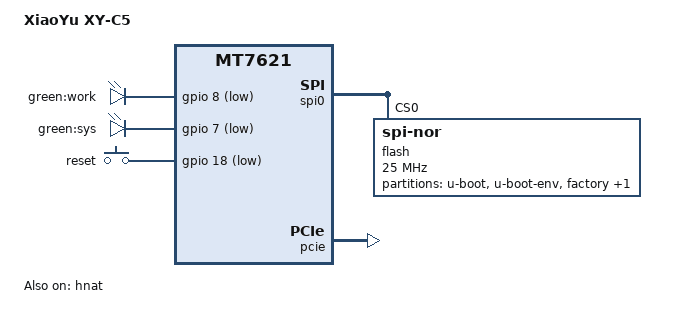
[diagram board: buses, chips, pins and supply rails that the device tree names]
#include "mt7621.dtsi"

#include <dt-bindings/gpio/gpio.h>
#include <dt-bindings/input/input.h>

/ {
	compatible = "xiaoyu,xy-c5", "mediatek,mt7621-soc";
	model = "XiaoYu XY-C5";

	aliases {
		led-boot = &led_sys;
		led-failsafe = &led_sys;
		led-running = &led_sys;
		led-upgrade = &led_sys;
		label-mac-device = &gmac0;
	};

	leds {
		compatible = "gpio-leds";

		work {
			label = "green:work";
			gpios = <&gpio 8 GPIO_ACTIVE_LOW>;
		};

		led_sys: sys {
			label = "green:sys";
			gpios = <&gpio 7 GPIO_ACTIVE_LOW>;
		};
	};

	keys {
		compatible = "gpio-keys";

		reset {
			label = "reset";
			gpios = <&gpio 18 GPIO_ACTIVE_LOW>;
			linux,code = <KEY_RESTART>;
		};
	};
};

&spi0 {
	status = "okay";

	flash@0 {
		compatible = "jedec,spi-nor";
		reg = <0>;
		spi-max-frequency = <25000000>;
		broken-flash-reset;

		partitions {
			compatible = "fixed-partitions";
			#address-cells = <1>;
			#size-cells = <1>;

			partition@0 {
				label = "u-boot";
				reg = <0x0 0x30000>;
				read-only;
			};

			partition@30000 {
				label = "u-boot-env";
				reg = <0x30000 0x10000>;
				read-only;
			};

			factory: partition@40000 {
				label = "factory";
				reg = <0x40000 0x10000>;
				read-only;
			};

			partition@50000 {
				compatible = "denx,uimage";
				label = "firmware";
				reg = <0x50000 0x1fb0000>;
			};
		};
	};
};

&pcie {
	status = "okay";
};

&gmac0 {
	nvmem-cells = <&macaddr_factory_4>;
	nvmem-cell-names = "mac-address";
};

&gmac1 {
	nvmem-cells = <&macaddr_factory_4>;
	nvmem-cell-names = "mac-address";
	mac-address-increment = <1>;
};

&switch0 {
	/* must delete compatible property */
	/delete-property/ compatible;
};

&hnat {
        mtketh-wan = "eth1";
        mtketh-ppd = "eth0";
        mtketh-lan = "eth0";
	ext-devices = "wlan0","wlan1","rax0","ra0", "rai0","apclii0","apclix0", "apcli0";
        mtketh-max-gmac = <2>;
        status = "okay";
};

&gsw {
	mediatek,mdio = <&mdio>;
	mediatek,portmap = "llllw";
	mediatek,mcm;
	mt7530,direct-phy-access;

	resets = <&rstctrl 2>;
	reset-names = "mcm";

	port5: port@5 {
		compatible = "mediatek,mt753x-port";
		reg = <5>;
		phy-mode = "rgmii";
		fixed-link {
			speed = <1000>;
			full-duplex;
		};
	};

	port6: port@6 {
		compatible = "mediatek,mt753x-port";
		reg = <6>;
		phy-mode = "rgmii";
		fixed-link {
			speed = <1000>;
			full-duplex;
		};
	};

	mdio-bus {
		#address-cells = <1>;
		#size-cells = <0>;
	};
};

&state_default {
	gpio {
		groups = "uart3", "wdt";
		function = "gpio";
	};
};

&factory {
	compatible = "nvmem-cells";
	#address-cells = <1>;
	#size-cells = <1>;

	macaddr_factory_4: macaddr@4 {
		reg = <0x4 0x6>;
	};
};
